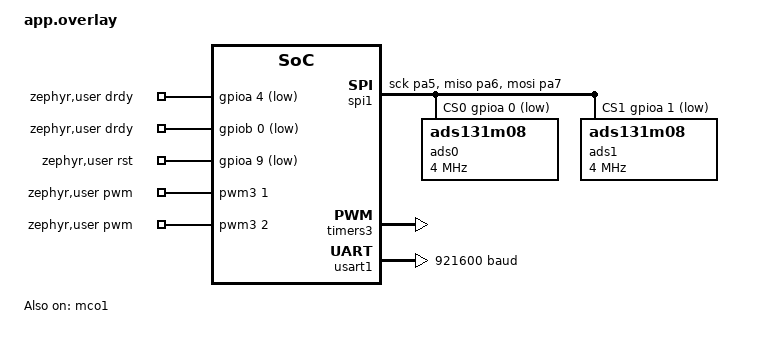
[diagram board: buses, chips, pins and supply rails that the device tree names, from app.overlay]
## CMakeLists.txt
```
cmake_minimum_required(VERSION 3.28.0)
find_package(Zephyr REQUIRED HINTS $ENV{ZEPHYR_BASE})
project(ads131m08)

target_sources(app PRIVATE 
    src/main.c
    src/ads131m08.c
    src/hbridge.c
    src/telemetry.c
)
```

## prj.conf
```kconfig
CONFIG_GPIO=y
CONFIG_SPI=y
CONFIG_PWM=y
 
# Telemetry link to the Pi
CONFIG_SERIAL=y
CONFIG_UART_INTERRUPT_DRIVEN=y
```

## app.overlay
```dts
/ {
    zephyr,user {
        drdy-gpios = <&gpioa 4 GPIO_ACTIVE_LOW>,  /* A2 */
                     <&gpiob 0 GPIO_ACTIVE_LOW>;  /* A3 */
        rst-gpios = <&gpioa 9 GPIO_ACTIVE_LOW>;
        pwms = <&pwm3 1 PWM_NSEC(100000) PWM_POLARITY_NORMAL>,
               <&pwm3 2 PWM_NSEC(100000) PWM_POLARITY_NORMAL>;
    };
};

&i2c3   { status = "disabled"; };   /* frees PA8 for MCO1 and PB4 for TIM3_CH1 */

/* Clock output on PA8. Not needed by the current ADC modules, which run
 * from their own 8.192 MHz crystals. */
&mco1 {
    clocks = <&rcc STM32_SRC_HSE MCO1_SEL(2)>;
    clock-names = "clksel";
    prescaler = <MCO1_PRE(MCO_PRE_DIV_1)>;
    pinctrl-0 = <&rcc_mco_1_pa8>;
    pinctrl-names = "default";
    status = "okay";
};

&spi1 {
    pinctrl-0 = <&spi1_sck_pa5 &spi1_miso_pa6 &spi1_mosi_pa7>;
    pinctrl-names = "default";
    cs-gpios = <&gpioa 0 GPIO_ACTIVE_LOW>,    /* A0 */
               <&gpioa 1 GPIO_ACTIVE_LOW>;    /* A1 */
    status = "okay";

    ads0: spi-dev@0 {
        compatible = "ads131m08";
        reg = <0>;
        spi-max-frequency = <4000000>;
    };

    ads1: spi-dev@1 {
        compatible = "ads131m08";
        reg = <1>;
        spi-max-frequency = <4000000>;
    };
};

&timers3 {
    st,prescaler = <0>;
    status = "okay";

    pwm3: pwm {
        pinctrl-0 = <&tim3_ch1_pb4 &tim3_ch2_pb5>;    /* D5, D4 */
        pinctrl-names = "default";
        status = "okay";
    };
};

&usart1 {
    current-speed = <921600>;
};

&timers2 { status = "disabled"; };
&pwm2    { status = "disabled"; };
```

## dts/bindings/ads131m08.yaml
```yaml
description: ADS131M08 24-bit delta-sigma ADC

compatible: "ads131m08"

include: spi-device.yaml
```

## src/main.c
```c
/*
 * Start-up and acquisition loop. Each pass waits for the next ADC sample
 * (every 250 us), queues it for the Pi and sends a status frame when due.
 * If any initialisation step fails, the error is printed and the firmware
 * stops.
 */

#include <zephyr/kernel.h>

#include "ads131m08.h"
#include "hbridge.h"
#include "telemetry.h"

/*
 * Set to 1 to print a set of samples to the console every 400 samples
 * instead of streaming them. Useful for bring-up only: printk is too slow
 * to leave on while the 250 us acquisition loop is running.
 */
#define DEBUG_PRINT  0

int main(void)
{
	int32_t uv[ADS_CHANNELS];

	if (hbridge_init() < 0) {
		printk("hbridge init failed\n");
		return 0;
	}

	if (ads_init() < 0) {
		printk("ads init failed\n");
		return 0;
	}

	if (telem_init() < 0) {
		printk("telem init failed\n");
		return 0;
	}

	while (1) {
		if (ads_read_channels(uv) < 0) {
			telem_note_error();
			continue;
		}

#if DEBUG_PRINT
		static uint32_t n;

		if ((n++ % 400) == 0) {
			for (int ch = 0; ch < ADS_CHANNELS; ch++) {
				printk("%d%s", uv[ch] / 100,
				       ch < ADS_CHANNELS - 1 ? "," : "\n");
			}
		}
#else
		telem_push(uv);
		telem_status_tick();
#endif
	}

	return 0;
}
```

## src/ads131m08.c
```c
/*
 * ADS131M08 driver for one or more boards on a shared SPI bus.
 *
 * Each frame is 10 words of 24 bits (STATUS, 8 channels, CRC), 30 bytes in
 * all. A command goes in word 1 and its response comes back in the
 * *following* frame, so every register access takes two transfers.
 * SPI mode 1 (CPOL = 0, CPHA = 1).
 *
 * Board 0's DRDY paces the acquisition loop, and board 0 is read on every
 * edge. Boards 1 and up carry only slow DC quantities, so they are read once
 * every ADS_SLOW_DIVIDER samples and their last values held in between.
 * Reading every board on every edge overran the 250 us sample interval and
 * silently lost samples.
 */

#include <zephyr/kernel.h>
#include <zephyr/devicetree.h>
#include <zephyr/drivers/spi.h>
#include <zephyr/drivers/gpio.h>
#include <string.h>
#include <errno.h>

#include "ads131m08.h"

#define USER_NODE  DT_PATH(zephyr_user)
#define FRAME_LEN  30      /* 10 words x 24 bits */

#define ADS_OP (SPI_OP_MODE_CONTROLLER | SPI_WORD_SET(8) | \
                SPI_TRANSFER_MSB | SPI_MODE_CPHA)

/* Command codes (ADS131M08 datasheet, Table 8-11) */
#define CMD_NULL           0x0000U
#define CMD_RESET          0x0011U
#define RREG_CMD(addr, n)  (0xA000U | ((addr) << 7) | ((n) - 1))
#define WREG_CMD(addr, n)  (0x6000U | ((addr) << 7) | ((n) - 1))

#define REG_ID     0x00
#define REG_STATUS 0x01
#define REG_MODE   0x02
#define REG_CLOCK  0x03

/*
 * CLOCK: 0xFF0E enables all 8 channels, OSR = 1024 (bits 4:2 = 011) and
 * high-resolution power mode. With the module's 8.192 MHz crystal that is
 * 8192000 / 2 / 1024 = 4000 Sa/s, exactly 80 samples per 50 Hz cycle.
 */
#define CLOCK_CFG  0xFF0EU

static const struct spi_dt_spec ads_spec[ADS_BOARDS] = {
	SPI_DT_SPEC_GET(DT_NODELABEL(ads0), ADS_OP),
#if ADS_BOARDS > 1
	SPI_DT_SPEC_GET(DT_NODELABEL(ads1), ADS_OP),
#endif
#if ADS_BOARDS > 2
	SPI_DT_SPEC_GET(DT_NODELABEL(ads2), ADS_OP),
#endif
};

static const struct gpio_dt_spec drdy[ADS_BOARDS] = {
	GPIO_DT_SPEC_GET_BY_IDX(USER_NODE, drdy_gpios, 0),
#if ADS_BOARDS > 1
	GPIO_DT_SPEC_GET_BY_IDX(USER_NODE, drdy_gpios, 1),
#endif
#if ADS_BOARDS > 2
	GPIO_DT_SPEC_GET_BY_IDX(USER_NODE, drdy_gpios, 2),
#endif
};

/* One reset line driving every board */
static const struct gpio_dt_spec rst = GPIO_DT_SPEC_GET(USER_NODE, rst_gpios);

static struct gpio_callback drdy_cb;
static K_SEM_DEFINE(drdy_sem, 0, 2);

static uint8_t tx[FRAME_LEN];
static uint8_t rx[FRAME_LEN];

static void drdy_handler(const struct device *port, struct gpio_callback *cb,
			 gpio_port_pins_t pins)
{
	ARG_UNUSED(port); ARG_UNUSED(cb); ARG_UNUSED(pins);
	k_sem_give(&drdy_sem);
}

static int ads_frame(uint8_t board)
{
	struct spi_buf txb = { .buf = tx, .len = FRAME_LEN };
	struct spi_buf rxb = { .buf = rx, .len = FRAME_LEN };
	struct spi_buf_set tx_set = { .buffers = &txb, .count = 1 };
	struct spi_buf_set rx_set = { .buffers = &rxb, .count = 1 };

	return spi_transceive_dt(&ads_spec[board], &tx_set, &rx_set);
}

void ads_hw_reset(void)
{
	gpio_pin_set_dt(&rst, 1);      /* assert (drives low) */
	k_usleep(400);                 /* 2048 tCLKIN is ~250 us at 8.192 MHz */
	gpio_pin_set_dt(&rst, 0);      /* release */
	k_msleep(1);
}

int ads_read_reg(uint8_t board, uint8_t addr, uint16_t *val)
{
	uint16_t cmd = RREG_CMD(addr, 1);
	int ret;

	if (board >= ADS_BOARDS) {
		return -EINVAL;
	}

	memset(tx, 0, sizeof(tx));
	tx[0] = cmd >> 8;
	tx[1] = cmd & 0xFF;
	ret = ads_frame(board);
	if (ret < 0) {
		return ret;
	}

	k_usleep(50);                  /* tREGACQ is 5 us */

	memset(tx, 0, sizeof(tx));     /* NULL command collects the response */
	ret = ads_frame(board);
	if (ret < 0) {
		return ret;
	}

	*val = ((uint16_t)rx[0] << 8) | rx[1];
	return 0;
}

int ads_write_reg(uint8_t board, uint8_t addr, uint16_t val)
{
	uint16_t cmd = WREG_CMD(addr, 1);

	if (board >= ADS_BOARDS) {
		return -EINVAL;
	}

	memset(tx, 0, sizeof(tx));
	tx[0] = cmd >> 8;
	tx[1] = cmd & 0xFF;
	tx[3] = val >> 8;              /* data word, MSB aligned in word 2 */
	tx[4] = val & 0xFF;

	return ads_frame(board);
}

/* Decode the 8 channels sitting in rx[] into microvolts */
static void decode_frame(int32_t *uv_out)
{
	for (int ch = 0; ch < ADS_CH_PER_BOARD; ch++) {
		int off = 3 + ch * 3;      /* skip STATUS, 3 bytes per channel */
		int32_t v = ((int32_t)rx[off] << 16) |
			    ((int32_t)rx[off + 1] << 8) |
			     (int32_t)rx[off + 2];

		if (v & 0x800000) {
			v |= 0xFF000000;   /* sign extend 24 -> 32 bit */
		}

		/* +/-1.2 V full scale at gain 1, 2^23 counts per full scale */
		uv_out[ch] = (int32_t)(((int64_t)v * 1200000) / 8388608);
	}
}

int ads_read_channels(int32_t *uv_out)
{
	int ret;

	k_sem_take(&drdy_sem, K_FOREVER);

	memset(tx, 0, sizeof(tx));           /* NULL command */
	ret = ads_frame(0);
	if (ret < 0) {
		return ret;
	}
	decode_frame(uv_out);

#if ADS_BOARDS > 1
	/*
	 * Boards 1 and up are read on a rate divider and their last values
	 * held in between, so an ordinary sample costs one SPI transfer
	 * instead of one per board.
	 */
	static int32_t slow[(ADS_BOARDS - 1) * ADS_CH_PER_BOARD];
	static uint32_t tick;

	if (++tick >= ADS_SLOW_DIVIDER) {
		tick = 0;
		for (uint8_t b = 1; b < ADS_BOARDS; b++) {
			memset(tx, 0, sizeof(tx));
			ret = ads_frame(b);
			if (ret < 0) {
				return ret;
			}
			decode_frame(slow + (b - 1) * ADS_CH_PER_BOARD);
		}
	}

	/* The caller always gets a full set, fresh or held */
	memcpy(uv_out + ADS_CH_PER_BOARD, slow, sizeof(slow));
#endif

	return 0;
}

static int board_init(uint8_t b)
{
	uint16_t id = 0, clk = 0;
	int ret;

	if (!spi_is_ready_dt(&ads_spec[b])) {
		printk("ads%u: SPI not ready\n", b);
		return -ENODEV;
	}

	/* Software reset, then let it settle */
	memset(tx, 0, sizeof(tx));
	tx[1] = CMD_RESET & 0xFF;
	ads_frame(b);
	k_msleep(1);

	/*
	 * Drain the two-deep output FIFO with two back-to-back frames. Left
	 * full, DRDY fires at half the real rate.
	 */
	memset(tx, 0, sizeof(tx));
	ads_frame(b);
	ads_frame(b);

	ret = ads_read_reg(b, REG_ID, &id);
	if (ret < 0) {
		return ret;
	}
	if ((id & 0xFF00) != 0x2800) {
		printk("ads%u: bad ID 0x%04X (expected 0x28xx)\n", b, id);
		return -EIO;
	}

	ret = ads_write_reg(b, REG_CLOCK, CLOCK_CFG);
	if (ret < 0) {
		return ret;
	}
	k_usleep(50);

	ret = ads_read_reg(b, REG_CLOCK, &clk);
	if (ret < 0) {
		return ret;
	}
	if (clk != CLOCK_CFG) {
		printk("ads%u: CLOCK readback 0x%04X, wanted 0x%04X\n",
		       b, clk, CLOCK_CFG);
		return -EIO;
	}

	printk("ads%u: ID 0x%04X, CLOCK 0x%04X\n", b, id, clk);
	return 0;
}

int ads_init(void)
{
	int ret;

	if (!gpio_is_ready_dt(&rst)) {
		printk("ads: reset gpio not ready\n");
		return -ENODEV;
	}

	ret = gpio_pin_configure_dt(&rst, GPIO_OUTPUT_INACTIVE);
	if (ret < 0) {
		return ret;
	}

	ads_hw_reset();

	for (int b = 0; b < ADS_BOARDS; b++) {
		if (!gpio_is_ready_dt(&drdy[b])) {
			printk("ads%d: drdy gpio not ready\n", b);
			return -ENODEV;
		}
		ret = gpio_pin_configure_dt(&drdy[b], GPIO_INPUT);
		if (ret < 0) {
			return ret;
		}
	}

	/*
	 * Only board 0's DRDY raises an interrupt; it paces the acquisition
	 * loop and the other boards are read alongside it.
	 */
	ret = gpio_pin_interrupt_configure_dt(&drdy[0], GPIO_INT_EDGE_TO_ACTIVE);
	if (ret < 0) {
		return ret;
	}
	gpio_init_callback(&drdy_cb, drdy_handler, BIT(drdy[0].pin));
	gpio_add_callback(drdy[0].port, &drdy_cb);

	k_msleep(10);                  /* let the ADCs finish power-on reset */

	for (uint8_t b = 0; b < ADS_BOARDS; b++) {
		ret = board_init(b);
		if (ret < 0) {
			return ret;
		}
	}

	k_sem_reset(&drdy_sem);        /* discard any stale DRDY event */

	return 0;
}
```

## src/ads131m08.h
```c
#ifndef ADS131M08_H_
#define ADS131M08_H_

#include <stdint.h>

/*
 * Number of ADC modules on the shared SPI bus. Each needs its own chip
 * select and drdy-gpios entry in app.overlay. The telemetry channel counts
 * follow from this value.
 */
#define ADS_BOARDS          2

#define ADS_CH_PER_BOARD    8
#define ADS_CHANNELS        (ADS_BOARDS * ADS_CH_PER_BOARD)

/* Boards 1 and up are read once every this many board-0 samples (10 Hz). */
#define ADS_SLOW_DIVIDER    400

int  ads_init(void);

/* Waits for board 0's next DRDY, then fills uv_out with ADS_CHANNELS
 * readings in microvolts. */
int  ads_read_channels(int32_t *uv_out);

int  ads_read_reg(uint8_t board, uint8_t addr, uint16_t *val);
int  ads_write_reg(uint8_t board, uint8_t addr, uint16_t val);
void ads_hw_reset(void);

#endif /* ADS131M08_H_ */
```

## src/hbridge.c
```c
/*
 * SPWM gate signals for the partner subsystem's H-bridge inverter.
 *
 * Timer 3 runs a 10 kHz carrier. At the end of every carrier period the
 * interrupt loads the next duty value from a 200-entry |sin| table, so one
 * pass through the table is one 50 Hz cycle. Channel 1 is modulated during
 * the first half-cycle and channel 2 during the second, with the idle
 * channel held at 0.
 */

#include <zephyr/kernel.h>
#include <zephyr/devicetree.h>
#include <zephyr/drivers/pwm.h>
#include <zephyr/irq.h>
#include <stm32_ll_tim.h>
#include <math.h>
#include <errno.h>

#include "hbridge.h"

#ifndef M_PI
#define M_PI 3.14159265358979323846
#endif

#define PWM_PERIOD_NS 100000U     /* 10 kHz */
#define SINE_SAMPLES  200         /* 10 kHz / 200 = 50 Hz output */

static uint32_t sine_tbl[SINE_SAMPLES];   /* duty in timer counts */
static volatile uint16_t sine_idx;

static const struct pwm_dt_spec legA = PWM_DT_SPEC_GET_BY_IDX(DT_PATH(zephyr_user), 0);
static const struct pwm_dt_spec legB = PWM_DT_SPEC_GET_BY_IDX(DT_PATH(zephyr_user), 1);

/* Timer 3 update interrupt: once per carrier period, load the next duty. */
static void tim3_isr(const void *arg)
{
    ARG_UNUSED(arg);

    if (!LL_TIM_IsActiveFlag_UPDATE(TIM3)) {
        return;
    }
    LL_TIM_ClearFlag_UPDATE(TIM3);

    uint32_t duty = sine_tbl[sine_idx];

    if (sine_idx < SINE_SAMPLES / 2) {
        LL_TIM_OC_SetCompareCH1(TIM3, duty);   /* leg A active */
        LL_TIM_OC_SetCompareCH2(TIM3, 0);
    } else {
        LL_TIM_OC_SetCompareCH1(TIM3, 0);
        LL_TIM_OC_SetCompareCH2(TIM3, duty);   /* leg B active */
    }

    if (++sine_idx >= SINE_SAMPLES) {
        sine_idx = 0;
    }
}

int hbridge_init(void)
{
    int ret;

    if (!pwm_is_ready_dt(&legA) || !pwm_is_ready_dt(&legB)) {
        printk("hbridge: PWM not ready\n");
        return -ENODEV;
    }

    /* let the driver configure period and enable both channels */
    ret = pwm_set_dt(&legA, PWM_PERIOD_NS, PWM_PERIOD_NS / 2);
    if (ret < 0) {
        printk("hbridge: legA set failed: %d\n", ret);
        return ret;
    }
    ret = pwm_set_dt(&legB, PWM_PERIOD_NS, PWM_PERIOD_NS / 2);
    if (ret < 0) {
        printk("hbridge: legB set failed: %d\n", ret);
        return ret;
    }

    /* build the table in timer counts, 0% to 100% of |sin| */
    uint32_t arr = LL_TIM_GetAutoReload(TIM3);
    for (int i = 0; i < SINE_SAMPLES; i++) {
        sine_tbl[i] = (uint32_t)(arr * fabs(sin(2.0 * M_PI * i / SINE_SAMPLES)));
    }
    printk("hbridge: ARR = %u\n", arr);

    sine_idx = 0;

    IRQ_CONNECT(DT_IRQN(DT_NODELABEL(timers3)), 2, tim3_isr, NULL, 0);
    irq_enable(DT_IRQN(DT_NODELABEL(timers3)));
    LL_TIM_EnableIT_UPDATE(TIM3);

    return 0;
}

void hbridge_stop(void)
{
    LL_TIM_DisableIT_UPDATE(TIM3);
    LL_TIM_OC_SetCompareCH1(TIM3, 0);
    LL_TIM_OC_SetCompareCH2(TIM3, 0);
}
```

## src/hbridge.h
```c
#ifndef HBRIDGE_H_
#define HBRIDGE_H_

int  hbridge_init(void);     /* starts the 50 Hz SPWM on both channels */
void hbridge_stop(void);     /* both channels to 0% duty */

#endif
```

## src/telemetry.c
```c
/*
 * Telemetry link: Nucleo-F446RE -> Raspberry Pi, binary frames on USART1.
 *
 * Frame header (little-endian, native on both the STM32 and the Pi):
 *
 *   offset  size  field
 *   0       2     sync = 0x5AA5
 *   2       1     type (1 = AC block, 2 = status)
 *   3       1     version = 2
 *   4       2     payload_len
 *   6       4     seq              (per-type counter, lets the Pi spot drops)
 *   10      N     payload
 *   10+N    2     CRC-16/CCITT-FALSE over bytes [0 .. 10+N-1]
 *
 * AC payload (type 1):
 *   0       2     n_samples
 *   2       2     sample_rate_hz
 *   4       1     n_channels
 *   5       1     reserved
 *   6       ...   n_samples * n_channels int16, sample-major,
 *                 in units of 100 uV at the ADC input
 *
 * Status payload (type 2):
 *   0       4     uptime_ms
 *   4       4     seq_ac
 *   8       4     dropped_frames
 *   12      4     sample_errors
 *   16      2     adc_status
 *   18      1     n_dc
 *   19      1     reserved
 *   20      ...   n_dc int32, mean microvolts, boards 1+ channels in order
 *
 * The MCU applies no scaling: it sends the voltage at each ADC pin, and the
 * Pi's channels.py decides what each channel measures and how to scale it.
 */

#include <zephyr/kernel.h>
#include <zephyr/device.h>
#include <zephyr/devicetree.h>
#include <zephyr/drivers/uart.h>
#include <zephyr/sys/ring_buffer.h>
#include <stddef.h>
#include <string.h>
#include <errno.h>

#include "telemetry.h"

#define UART_NODE          DT_NODELABEL(usart1)

/* Must match the rate set by CLOCK_CFG in ads131m08.c. */
#define SAMPLE_RATE_HZ     4000

/* 80 samples at 4000 Sa/s is exactly one 50 Hz cycle per frame. */
#define BLOCK_SAMPLES      80

/* Must hold several whole frames. One AC frame is 1298 B at 8 channels. */
#define TX_RING_SIZE       8192

#define STATUS_PERIOD_MS   500

#define FRAME_SYNC         0x5AA5u
#define FRAME_VERSION      2
#define FRAME_TYPE_AC      1
#define FRAME_TYPE_STATUS  2

struct frame_hdr {
	uint16_t sync;
	uint8_t  type;
	uint8_t  version;
	uint16_t payload_len;
	uint32_t seq;
} __packed;

struct ac_hdr {
	uint16_t n_samples;
	uint16_t sample_rate_hz;
	uint8_t  n_channels;
	uint8_t  reserved;
} __packed;

/* Zero-length arrays are not legal C, so the DC slot always has room for at
 * least one entry; n_dc says how many are actually present and payload_len
 * is computed from it. */
#define DC_SLOTS  (TELEM_DC_CHANNELS > 0 ? TELEM_DC_CHANNELS : 1)

struct status_payload {
	uint32_t uptime_ms;
	uint32_t seq_ac;
	uint32_t dropped_frames;
	uint32_t sample_errors;
	uint16_t adc_status;
	uint8_t  n_dc;
	uint8_t  reserved;
	int32_t  dc_uv[DC_SLOTS];
} __packed;

#define AC_PAYLOAD_LEN  (sizeof(struct ac_hdr) + \
			 (size_t)BLOCK_SAMPLES * TELEM_AC_CHANNELS * sizeof(int16_t))
#define AC_FRAME_LEN    (sizeof(struct frame_hdr) + AC_PAYLOAD_LEN + 2)

#define ST_PAYLOAD_LEN  (offsetof(struct status_payload, dc_uv) + \
			 (size_t)TELEM_DC_CHANNELS * sizeof(int32_t))
#define ST_FRAME_LEN    (sizeof(struct frame_hdr) + ST_PAYLOAD_LEN + 2)

#define ST_BUF_LEN      (sizeof(struct frame_hdr) + \
			 sizeof(struct status_payload) + 2)

static const struct device *const uart_dev = DEVICE_DT_GET(UART_NODE);

RING_BUF_DECLARE(tx_rb, TX_RING_SIZE);

/* The AC frame is built in place: samples are written straight into the
 * payload area as they arrive, then the header and CRC are added. */
static uint8_t ac_buf[AC_FRAME_LEN] __aligned(4);
static uint8_t st_buf[ST_BUF_LEN] __aligned(4);

static int16_t *const ac_samples =
	(int16_t *)(ac_buf + sizeof(struct frame_hdr) + sizeof(struct ac_hdr));

static uint32_t fill;              /* samples accumulated in current block */
static uint32_t seq_ac;
static uint32_t seq_status;
static uint32_t dropped_frames;
static uint32_t sample_errors;
static int64_t  last_status;

/* Running mean of the boards 1+ channels, reset each status frame */
#if TELEM_DC_CHANNELS > 0
static int64_t  dc_sum[TELEM_DC_CHANNELS];
static uint32_t dc_count;
#endif

/*
 * CRC-16/CCITT-FALSE: polynomial 0x1021, initial value 0xFFFF, no reflection, no final XOR.
 * The 16-entry table processes four bits per step: faster than working one
 * bit at a time, and much smaller than a 256-entry table. This runs in the
 * acquisition loop, so it needs to be quick. Check value for "123456789"
 * is 0x29B1.
 */
static const uint16_t crc_tab[16] = {
	0x0000, 0x1021, 0x2042, 0x3063, 0x4084, 0x50A5, 0x60C6, 0x70E7,
	0x8108, 0x9129, 0xA14A, 0xB16B, 0xC18C, 0xD1AD, 0xE1CE, 0xF1EF,
};

static uint16_t crc16_ccitt_false(const uint8_t *data, size_t len)
{
	uint16_t crc = 0xFFFF;

	for (size_t i = 0; i < len; i++) {
		crc = (uint16_t)((crc << 4) ^
				 crc_tab[((crc >> 12) ^ (data[i] >> 4)) & 0x0F]);
		crc = (uint16_t)((crc << 4) ^
				 crc_tab[((crc >> 12) ^ (data[i] & 0x0F)) & 0x0F]);
	}
	return crc;
}

/* UART transmit: interrupt driven, fed from the ring buffer. */

static void uart_isr(const struct device *dev, void *user_data)
{
	ARG_UNUSED(user_data);

	uart_irq_update(dev);

	while (uart_irq_tx_ready(dev)) {
		uint8_t *chunk;
		uint32_t avail = MIN(ring_buf_get_ptr(&tx_rb, &chunk, 0), 64);

		if (avail == 0) {
			uart_irq_tx_disable(dev);
			break;
		}

		int sent = uart_fifo_fill(dev, chunk, (int)avail);

		if (sent > 0) {
			ring_buf_consume(&tx_rb, (uint32_t)sent);
		}

		if (sent < (int)avail) {
			break;   /* hardware FIFO full, we'll be called again */
		}
	}
}

/*
 * Frames go in whole or not at all. A partial frame would desynchronise the
 * host, so if the ring is full we discard and count instead.
 */
static int frame_queue(const uint8_t *buf, size_t len)
{
	if (ring_buf_space_get(&tx_rb) < len) {
		dropped_frames++;
		return -ENOMEM;
	}

	ring_buf_put(&tx_rb, buf, len);
	uart_irq_tx_enable(uart_dev);

	return 0;
}

/*
 * Microvolts at the ADC input -> int16 in units of 100 uV.
 *
 * The +/-1.2 V input range maps to +/-12000 of the available +/-32767.
 * Sending int16 rather than int32 halves the data rate on the link.
 */
static inline int16_t to_code(int32_t uv)
{
	int32_t c = uv / 100;

	if (c > 32767) {
		return 32767;
	}
	if (c < -32768) {
		return -32768;
	}
	return (int16_t)c;
}

static int ac_flush(void)
{
	struct frame_hdr *h = (struct frame_hdr *)ac_buf;
	struct ac_hdr *a = (struct ac_hdr *)(ac_buf + sizeof(*h));
	uint16_t crc;

	h->sync        = FRAME_SYNC;
	h->type        = FRAME_TYPE_AC;
	h->version     = FRAME_VERSION;
	h->payload_len = (uint16_t)AC_PAYLOAD_LEN;
	h->seq         = seq_ac++;

	a->n_samples      = BLOCK_SAMPLES;
	a->sample_rate_hz = SAMPLE_RATE_HZ;
	a->n_channels     = TELEM_AC_CHANNELS;
	a->reserved       = 0;

	crc = crc16_ccitt_false(ac_buf, AC_FRAME_LEN - 2);
	ac_buf[AC_FRAME_LEN - 2] = (uint8_t)(crc & 0xFF);
	ac_buf[AC_FRAME_LEN - 1] = (uint8_t)(crc >> 8);

	return frame_queue(ac_buf, AC_FRAME_LEN);
}

int telem_push(const int32_t *uv)
{
	int16_t *dst = ac_samples + (size_t)fill * TELEM_AC_CHANNELS;

	for (int ch = 0; ch < TELEM_AC_CHANNELS; ch++) {
		dst[ch] = to_code(uv[ch]);
	}

#if TELEM_DC_CHANNELS > 0
	for (int ch = 0; ch < TELEM_DC_CHANNELS; ch++) {
		dc_sum[ch] += uv[TELEM_AC_CHANNELS + ch];
	}
	dc_count++;
#endif

	if (++fill < BLOCK_SAMPLES) {
		return 0;
	}

	fill = 0;
	return ac_flush();
}

void telem_status_tick(void)
{
	struct frame_hdr *h = (struct frame_hdr *)st_buf;
	struct status_payload *p =
		(struct status_payload *)(st_buf + sizeof(*h));
	int64_t now = k_uptime_get();
	uint16_t crc;

	if (now - last_status < STATUS_PERIOD_MS) {
		return;
	}
	last_status = now;

	h->sync        = FRAME_SYNC;
	h->type        = FRAME_TYPE_STATUS;
	h->version     = FRAME_VERSION;
	h->payload_len = (uint16_t)ST_PAYLOAD_LEN;
	h->seq         = seq_status++;

	p->uptime_ms      = (uint32_t)now;
	p->seq_ac         = seq_ac;
	p->dropped_frames = dropped_frames;
	p->sample_errors  = sample_errors;
	p->adc_status     = 0;    /* not used, always 0 */
	p->n_dc           = TELEM_DC_CHANNELS;
	p->reserved       = 0;

#if TELEM_DC_CHANNELS > 0
	for (int ch = 0; ch < TELEM_DC_CHANNELS; ch++) {
		p->dc_uv[ch] = dc_count ? (int32_t)(dc_sum[ch] / dc_count) : 0;
		dc_sum[ch] = 0;
	}
	dc_count = 0;
#endif

	crc = crc16_ccitt_false(st_buf, ST_FRAME_LEN - 2);
	st_buf[ST_FRAME_LEN - 2] = (uint8_t)(crc & 0xFF);
	st_buf[ST_FRAME_LEN - 1] = (uint8_t)(crc >> 8);

	frame_queue(st_buf, ST_FRAME_LEN);
}

void telem_note_error(void)
{
	sample_errors++;
}

int telem_init(void)
{
	unsigned int fps = SAMPLE_RATE_HZ / BLOCK_SAMPLES;

	if (!device_is_ready(uart_dev)) {
		printk("telem: USART1 not ready\n");
		return -ENODEV;
	}

	uart_irq_rx_disable(uart_dev);
	uart_irq_tx_disable(uart_dev);
	uart_irq_callback_user_data_set(uart_dev, uart_isr, NULL);

	fill           = 0;
	seq_ac         = 0;
	seq_status     = 0;
	dropped_frames = 0;
	sample_errors  = 0;
	last_status    = k_uptime_get();

	printk("telem: %u ac ch + %u dc ch @ %u Sa/s\n",
	       TELEM_AC_CHANNELS, TELEM_DC_CHANNELS, SAMPLE_RATE_HZ);
	printk("telem: %u B frames, %u frames/s, %u B/s\n",
	       (unsigned)AC_FRAME_LEN, fps, (unsigned)(AC_FRAME_LEN * fps));

	return 0;
}
```

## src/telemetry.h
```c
#ifndef TELEMETRY_H_
#define TELEMETRY_H_

#include <stdint.h>

#include "ads131m08.h"

/*
 * Binary framed telemetry to the Raspberry Pi over USART1. The frame format
 * is described in telemetry.c.
 *
 * Board 0's eight channels are streamed as waveforms. Channels on boards 1
 * and up carry slow DC quantities (battery, capacitor), so they are averaged
 * and sent twice a second in the status frame. This keeps the link at about
 * 65 kB/s; streaming all 16 channels would need about 1.3 Mbaud.
 */

#define TELEM_AC_CHANNELS   ADS_CH_PER_BOARD
#define TELEM_DC_CHANNELS   (ADS_CHANNELS - ADS_CH_PER_BOARD)

int  telem_init(void);

/* uv points at ADS_CHANNELS readings in microvolts. Never blocks. */
int  telem_push(const int32_t *uv);

/* Call freely from the acquisition loop; rate-limits itself to 2 Hz. */
void telem_status_tick(void);

/* Count a failed ADC read so it shows up in the status frame. */
void telem_note_error(void);

#endif /* TELEMETRY_H_ */
```
